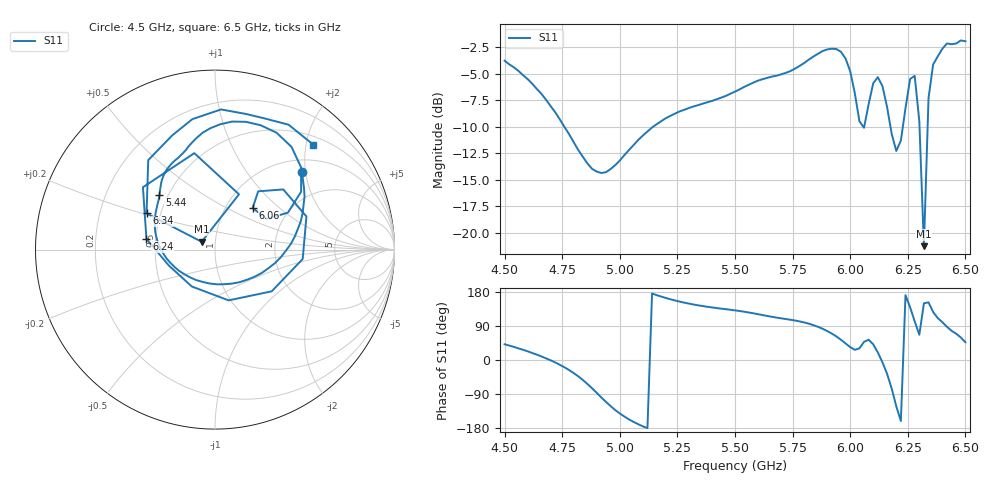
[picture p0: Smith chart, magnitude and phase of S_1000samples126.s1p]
! TOUCHSTONE file generated by CST MICROWAVE STUDIO
! Date and time: Thu Oct 27 02:16:36 2022
! Project name: L.cst
! Parameters = {Di=1.27; Epsilon_r=1.56; InnerDiameter=1.27; Length=2; Lf=10; Lg=60; OuterConductorThickness=0.2921; OuterDiameter=3.6; Wf=3; Wp=41.2; de=1.5; df=6.8; g=0.8; gx=2.70751; gy=1.11009; h=2.34; hf=1.524; px=13.8857; py=12.7428; w=9.7; wx=11.1782; wy=11.6327}
! Header version: 2018
! Port assignment regex: !\s*Touchstone port\s*([0-9]+)\s*=\s*(CST MWS port|CST DS port)\s*([0-9]+|Zmin|Zmax)\s*\(\"(.*)\"\)(\s*mode\s*([0-9]+))?.*
! Touchstone port assignment:
! Touchstone port 1 = CST MWS port 1 ("")
# GHz S DB R 50
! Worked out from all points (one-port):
!   101 points, 4.5 GHz to 6.5 GHz, reference 50 ohm
!   lowest |S11| = -21.3 dB at 6.32 GHz (marker M1), VSWR 1.19, Z = 42.9 + j3.77 ohm
!   |S11| at or under -10 dB: 4.759 GHz to 5.145 GHz (385.9 MHz wide, 7.79 % of centre); 6.056622 GHz to 6.060943 GHz (4.321 MHz wide, 0.0713 % of centre); 6.175 GHz to 6.229 GHz (53.84 MHz wide, 0.868 % of centre) (the widest 3 of 4)
!   S11 on the Smith chart (normalised r, x): 4.5 GHz: 1.29, +1.91; 5.44 GHz: 0.45, +0.34; 6.06 GHz: 1.33, +0.68; 6.24 GHz: 0.44, +0.06; 6.34 GHz: 0.42, +0.21; 6.5 GHz: 0.66, +2.14
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4.5  -3.77 41.5
4.62  -5.94 18.4
4.76  -10.03 -19.3
4.88  -13.99 -74.8
5  -13.20 -141.0
5.26  -8.56 154.1
5.44  -7.26 135.5
5.5  -6.69 130.9
5.76  -4.52 104.3
5.84  -3.38 92.0
5.92  -2.64 69.8
6  -4.76 33.9
6.04  -9.48 30.7
6.06  -10.11 47.8
6.1  -5.90 41.4
6.12  -5.32 19.9
6.14  -6.17 -6.1
6.18  -10.67 -75.0
6.2  -12.29 -122.2
6.24  -8.26 171.2
6.26  -5.50 139.1
6.28  -5.20 102.1
6.3  -9.48 66.5
6.32  -21.29 149.6
6.34  -7.30 152.1
6.36  -4.12 126.7
6.42  -2.14 87.5
6.5  -1.93 46.9
